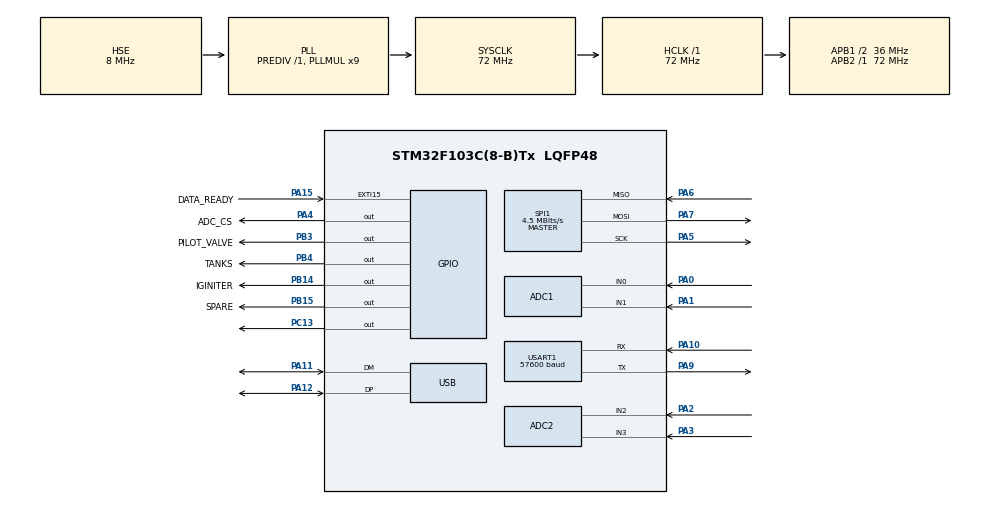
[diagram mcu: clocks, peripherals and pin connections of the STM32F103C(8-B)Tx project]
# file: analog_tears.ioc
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ADC1.Channel-0\#ChannelRegularConversion=ADC_CHANNEL_0
ADC1.ContinuousConvMode=ENABLE
ADC1.NbrOfConversionFlag=1
ADC1.Rank-0\#ChannelRegularConversion=1
ADC1.SamplingTime-0\#ChannelRegularConversion=ADC_SAMPLETIME_55CYCLES_5
ADC1.master=1
ADC2.Channel-0\#ChannelRegularConversion=ADC_CHANNEL_3
ADC2.NbrOfConversionFlag=1
ADC2.Rank-0\#ChannelRegularConversion=1
ADC2.SamplingTime-0\#ChannelRegularConversion=ADC_SAMPLETIME_1CYCLE_5
Dma.ADC1.0.Direction=DMA_PERIPH_TO_MEMORY
Dma.ADC1.0.Instance=DMA1_Channel1
Dma.ADC1.0.MemDataAlignment=DMA_MDATAALIGN_HALFWORD
Dma.ADC1.0.MemInc=DMA_MINC_ENABLE
Dma.ADC1.0.Mode=DMA_CIRCULAR
Dma.ADC1.0.PeriphDataAlignment=DMA_PDATAALIGN_HALFWORD
Dma.ADC1.0.PeriphInc=DMA_PINC_DISABLE
Dma.ADC1.0.Priority=DMA_PRIORITY_LOW
Dma.Request0=ADC1
Mcu.Family=STM32F1
Mcu.Name=STM32F103C(8-B)Tx
Mcu.Package=LQFP48
NVIC.DMA1_Channel1_IRQn=true\:0\:0\:false\:false\:true\:false\:true\:true
NVIC.EXTI15_10_IRQn=true\:1\:0\:true\:false\:true\:true\:true\:true
NVIC.PriorityGroup=NVIC_PRIORITYGROUP_4
NVIC.SPI1_IRQn=true\:0\:0\:false\:false\:true\:true\:true\:true
NVIC.TIM4_IRQn=true\:15\:0\:false\:false\:true\:false\:true\:true
NVIC.TimeBase=TIM4_IRQn
NVIC.TimeBaseIP=TIM4
NVIC.USART1_IRQn=true\:0\:0\:false\:false\:true\:true\:true\:true
NVIC.USB_LP_CAN1_RX0_IRQn=true\:0\:0\:false\:false\:true\:false\:true\:true
PA0-WKUP.Signal=ADCx_IN0
PA1.Signal=ADCx_IN1
PA10.Mode=Asynchronous
PA10.Signal=USART1_RX
PA11.Mode=Device
PA11.Signal=USB_DM
PA12.Mode=Device
PA12.Signal=USB_DP
PA13.Mode=Serial_Wire
PA13.Signal=SYS_JTMS-SWDIO
PA14.Mode=Serial_Wire
PA14.Signal=SYS_JTCK-SWCLK
PA15.GPIO_Label=DATA_READY
PA15.GPIO_ModeDefaultEXTI=GPIO_MODE_IT_FALLING
PA15.GPIO_PuPd=GPIO_PULLUP
PA15.Signal=GPXTI15
PA2.Signal=ADCx_IN2
PA3.Signal=ADCx_IN3
PA4.GPIO_Label=ADC_CS
PA4.GPIO_PuPd=GPIO_PULLUP
PA4.GPIO_Speed=GPIO_SPEED_FREQ_HIGH
PA4.Signal=GPIO_Output
PA5.Mode=Full_Duplex_Master
PA5.Signal=SPI1_SCK
PA6.Mode=Full_Duplex_Master
PA6.Signal=SPI1_MISO
PA7.Mode=Full_Duplex_Master
PA7.Signal=SPI1_MOSI
PA9.Mode=Asynchronous
PA9.Signal=USART1_TX
PB14.GPIO_Label=IGINITER
PB14.GPIO_PuPd=GPIO_PULLDOWN
PB14.Signal=GPIO_Output
PB15.GPIO_Label=SPARE
PB15.GPIO_PuPd=GPIO_PULLDOWN
PB15.Signal=GPIO_Output
PB3.GPIO_Label=PILOT_VALVE
PB3.Signal=GPIO_Output
PB4.GPIO_Label=TANKS
PB4.Signal=GPIO_Output
PC13-TAMPER-RTC.Signal=GPIO_Output
PD0-OSC_IN.Mode=HSE-External-Oscillator
PD0-OSC_IN.Signal=RCC_OSC_IN
PD1-OSC_OUT.Mode=HSE-External-Oscillator
PD1-OSC_OUT.Signal=RCC_OSC_OUT
ProjectManager.HeapSize=0x200
ProjectManager.StackSize=0x400
ProjectManager.TargetToolchain=CMake
RCC.ADCPresc=RCC_ADCPCLK2_DIV6
RCC.AHBFreq_Value=72000000
RCC.APB1CLKDivider=RCC_HCLK_DIV2
RCC.APB1Freq_Value=36000000
RCC.APB1TimFreq_Value=72000000
RCC.APB2Freq_Value=72000000
RCC.APB2TimFreq_Value=72000000
RCC.HCLKFreq_Value=72000000
RCC.PLLMUL=RCC_PLL_MUL9
RCC.PLLSourceVirtual=RCC_PLLSOURCE_HSE
RCC.SYSCLKFreq_VALUE=72000000
RCC.SYSCLKSource=RCC_SYSCLKSOURCE_PLLCLK
RCC.USBFreq_Value=48000000
RCC.USBPrescaler=RCC_USBCLKSOURCE_PLL_DIV1_5
SH.ADCx_IN0.0=ADC1_IN0,IN0
SH.ADCx_IN0.1=ADC2_IN0
SH.ADCx_IN1.0=ADC1_IN1,IN1
SH.ADCx_IN1.1=ADC2_IN1
SH.ADCx_IN2.0=ADC2_IN2,IN2
SH.ADCx_IN3.0=ADC2_IN3,IN3
SPI1.BaudRatePrescaler=SPI_BAUDRATEPRESCALER_16
SPI1.CalculateBaudRate=4.5 MBits/s
SPI1.Direction=SPI_DIRECTION_2LINES
SPI1.Mode=SPI_MODE_MASTER
SPI1.VirtualType=VM_MASTER
USART1.BaudRate=57600
USART1.VirtualMode=VM_ASYNC
USB_DEVICE.CLASS_NAME_FS=CDC
USB_DEVICE.VirtualMode=Cdc
USB_DEVICE.VirtualModeFS=Cdc_FS
VP_SYS_VS_tim4.Mode=TIM4
VP_USB_DEVICE_VS_USB_DEVICE_CDC_FS.Mode=CDC_FS
board=custom

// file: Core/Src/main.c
/* USER CODE BEGIN Header */
/**
 ******************************************************************************
 * @file           : main.c
 * @brief          : Main program body
 ******************************************************************************
 * @attention
 *
 * Copyright (c) 2025 STMicroelectronics.
 * All rights reserved.
 *
 * This software is licensed under terms that can be found in the LICENSE file
 * in the root directory of this software component.
 * If no LICENSE file comes with this software, it is provided AS-IS.
 *
 ******************************************************************************
 */
/* USER CODE END Header */
#include "main.h"
#include "usb_device.h"

/* USER CODE BEGIN Includes */
#include <stdint.h>
#include <string.h>
#include <stdio.h>
#include <unistd.h>
#include <stddef.h>
#include "ad7193.h"
#include "usbd_cdc_if.h"
/* USER CODE END Includes */

/* USER CODE BEGIN PTD */
#define CHANNELS 2
#define VREF 3.3
#define READY_MASK 0x03

typedef struct __attribute__((packed)) {
  uint8_t header;                   // 0xAC
  uint8_t sequence;                 // Rolling counter
  uint32_t timestamp;               // HAL_GetTick()
  float ad7193_data[CHANNELS];      // floating point values for AD7193
  uint16_t stm32_adc;               // 16-bit internal ADC
  float battery_voltage;            // Battery voltage in volts
  uint16_t crc;                     // CRC-16
} DataPacket_t;
_Static_assert(sizeof(DataPacket_t) == 22, "DataPacket_t must be 22 bytes");

typedef enum { IGNITER_IDLE, IGNITER_FIRING, IGNITER_PILOT, IGNITER_PILOT_OFF, IGNITER_COMPLETE } igniterState_t;

/* USER CODE END PTD */

/* USER CODE BEGIN PD */
#define CMD_HEADER 0xAA
#define ACK_HEADER 0xAB

#define CMD_IGNITER 'I'
#define CMD_SPARE 'S'
#define CMD_TANKS 'T'
#define CMD_PILOT 'P'
#define PILOT_ON_DURATION_MS 1500

#define CMD_ON 0x01
#define CMD_OFF 0x02

#define UART_BUFFER_LEN 4

#define UART_TIMEOUT 10

#define DATA_HEADER 0xAC

#define PILOT_VALVE_DELAY 5000
#define IGNITER_TURN_OFF 10000
#define UART_ACK_TIMEOUT 2000

#define BATTERY_ADC_AVG_SAMPLES 32u
// Battery calibration points:
// ADC 1577 -> 14V, ADC 1464 -> 13V
#define BATTERY_CAL_SLOPE_V_PER_COUNT ((14.0f - 13.0f) / (1577.0f - 1464.0f))
#define BATTERY_CAL_OFFSET_V          (14.0f - (BATTERY_CAL_SLOPE_V_PER_COUNT * 1577.0f))
// Empirical gain trim: measured 13.2 V while true battery was 14.0 V.
#define BATTERY_CAL_GAIN_TRIM         (14.0f / 13.2f)
// Empirical offset trim after gain correction.
#define BATTERY_CAL_OFFSET_TRIM_V     (-0.1f)
/* USER CODE END PD */

ADC_HandleTypeDef hadc1;
ADC_HandleTypeDef hadc2;
DMA_HandleTypeDef hdma_adc1;

SPI_HandleTypeDef hspi1;

UART_HandleTypeDef huart1;

/* USER CODE BEGIN PV */
AD7193_HandleTypeDef hadc7193;

uint8_t ack_buffer[4];
static uint8_t pending_ack_buffer[4];
static volatile uint8_t pending_ack_ready = 0;

volatile uint8_t cmd_rdy = 0;
uint8_t cmd_buf[UART_BUFFER_LEN];

volatile uint8_t ad7193_ready = 0;
volatile uint16_t internal_adc_buffer[1];
uint8_t ad7193_valid_mask = 0;
uint8_t sequence = 0;
float ad7193_latest_volts[CHANNELS] = {0.0f};
static uint32_t battery_adc_accum = 0;
static uint8_t battery_adc_count = 0;
static float latest_battery_voltage = 0.0f;
DataPacket_t pkt_buf[2];
static volatile uint8_t pkt_idx = 0;       // which buffer to build next
static volatile uint32_t dropped_pkts = 0; // optional debug
static volatile uint8_t uart_tx_busy = 0;
volatile uint32_t pilot_start = 0;

/* USER CODE END PV */

void SystemClock_Config(void);
static void MX_GPIO_Init(void);
static void MX_DMA_Init(void);
static void MX_SPI1_Init(void);
static void MX_USART1_UART_Init(void);
static void MX_ADC1_Init(void);
static void MX_ADC2_Init(void);

/* USER CODE BEGIN 0 */
uint8_t uart_rx_buf[UART_BUFFER_LEN];

uint8_t computeCRC(uint8_t *data, uint8_t len) {
  uint8_t crc = 0;
  for (int i = 0; i < len; i++) {
    crc ^= data[i];
  }
  return crc;
}

uint16_t computeCRC_16(const uint8_t *data, uint16_t len) {
  uint16_t crc = 0xFFFF;

  for (uint16_t i = 0; i < len; i++) {
    // XOR byte into the top of the CRC
    crc ^= (uint16_t)data[i] << 8;

    // Process 8 bits
    for (uint8_t j = 0; j < 8; j++) {
      if (crc & 0x8000) // If MSB is 1
      {
        crc = (crc << 1) ^ 0x1021;
      } else {
        crc = crc << 1;
      }
    }
  }
  return crc;
}

void sendAck(uint8_t cmd, GPIO_PinState state) {
  uint8_t frame[4];
  frame[0] = ACK_HEADER;
  frame[1] = cmd;
  frame[2] = (state == GPIO_PIN_SET) ? 1 : 0;
  frame[3] = computeCRC(frame, 3);

  __disable_irq();
  if (uart_tx_busy) {
    memcpy(pending_ack_buffer, frame, sizeof(pending_ack_buffer));
    pending_ack_ready = 1;
    __enable_irq();
    return;
  }
  memcpy(ack_buffer, frame, sizeof(ack_buffer));
  uart_tx_busy = 1;
  __enable_irq();

  if (HAL_UART_Transmit_IT(&huart1, ack_buffer, 4) != HAL_OK) {
    __disable_irq();
    uart_tx_busy = 0;
    __enable_irq();
  }
}

static inline float BatteryAdcToVolts(uint16_t adc_sample) {
  float volts = ((BATTERY_CAL_SLOPE_V_PER_COUNT * (float)adc_sample) + BATTERY_CAL_OFFSET_V) *
                BATTERY_CAL_GAIN_TRIM;
  volts += BATTERY_CAL_OFFSET_TRIM_V;
  if (volts < 0.0f) {
    volts = 0.0f;
  }
  return volts;
}

static inline void BatteryAdc_UpdateNonBlocking(void) {
  // Take one ADC2 sample per call; publish a new averaged battery voltage every
  // BATTERY_ADC_AVG_SAMPLES samples.
  if (HAL_ADC_Start(&hadc2) == HAL_OK) {
    // Timeout must be >0 or conversions are frequently missed.
    if (HAL_ADC_PollForConversion(&hadc2, 2) == HAL_OK) {
      battery_adc_accum += HAL_ADC_GetValue(&hadc2);
      battery_adc_count++;

      if (battery_adc_count >= BATTERY_ADC_AVG_SAMPLES) {
        uint16_t averaged_sample = (uint16_t)(battery_adc_accum / BATTERY_ADC_AVG_SAMPLES);
        latest_battery_voltage = BatteryAdcToVolts(averaged_sample);
        battery_adc_accum = 0;
        battery_adc_count = 0;
      }
    }
    (void)HAL_ADC_Stop(&hadc2);
  }
}

static inline void TrySendDataPacket_IT(const float ad_volts[CHANNELS],
                                       uint16_t stm32_adc_sample,
                                       float battery_adc_raw) {
  if (uart_tx_busy) {
    dropped_pkts++;
    return; // simplest policy: drop if UART is busy
  }

  uart_tx_busy = 1;

  // Pick buffer and flip for next time
  DataPacket_t *p = &pkt_buf[pkt_idx];
  pkt_idx ^= 1;

  // Fill packet
  p->header    = DATA_HEADER;      // 0xAC
  p->sequence  = sequence++;
  p->timestamp = HAL_GetTick();
  for (int i = 0; i < CHANNELS; i++) {
    p->ad7193_data[i] = -ad_volts[i];
  }
  p->stm32_adc = stm32_adc_sample;
  p->battery_voltage = battery_adc_raw;

  p->crc = computeCRC_16((const uint8_t*)p, (uint16_t)offsetof(DataPacket_t, crc));

  // Start non-blocking TX
  if (HAL_UART_Transmit_IT(&huart1, (uint8_t*)p, (uint16_t)sizeof(DataPacket_t)) != HAL_OK) {
    uart_tx_busy = 0; // give up
  }
}

volatile igniterState_t state = IGNITER_IDLE;
volatile uint32_t igniter_start = 0;

void handleCommand(uint8_t cmd, uint8_t val) {
  GPIO_TypeDef *port = NULL;
  uint16_t pin;

  switch (cmd) {
  case CMD_IGNITER:
    port = IGINITER_GPIO_Port;
    pin = IGINITER_Pin;

    if (val == CMD_ON) {
      HAL_GPIO_WritePin(IGINITER_GPIO_Port, IGINITER_Pin, GPIO_PIN_SET);
      state = IGNITER_FIRING;
      igniter_start = HAL_GetTick();

      GPIO_PinState curr = HAL_GPIO_ReadPin(port, pin);
      sendAck(cmd, curr);
      return;
    } else if (val == CMD_OFF) {
      // abort!!!!
      HAL_GPIO_WritePin(IGINITER_GPIO_Port, IGINITER_Pin, GPIO_PIN_RESET);
      HAL_GPIO_WritePin(PILOT_VALVE_GPIO_Port, PILOT_VALVE_Pin, GPIO_PIN_RESET);
      state = IGNITER_IDLE;

      GPIO_PinState curr = HAL_GPIO_ReadPin(port, pin);
      sendAck(cmd, curr);
      return;
    }

  case CMD_PILOT:
    port = PILOT_VALVE_GPIO_Port;
    pin = PILOT_VALVE_Pin;
    break;

  case CMD_TANKS:
    port = TANKS_GPIO_Port;
    pin = TANKS_Pin;
    break;

  case CMD_SPARE:
    port = SPARE_GPIO_Port;
    pin = SPARE_Pin;
    break;

  default:
    return;
  }
  switch (val) {
  case CMD_ON:
    HAL_GPIO_WritePin(port, pin, GPIO_PIN_SET);
    break;

  case CMD_OFF:
    HAL_GPIO_WritePin(port, pin, GPIO_PIN_RESET);
    break;

  default:
    return;
  }

  GPIO_PinState curr = HAL_GPIO_ReadPin(port, pin);
  sendAck(cmd, curr);
}

void handleIgniterSequence(void) {
  uint32_t now = HAL_GetTick();

  switch (state) {
  case IGNITER_IDLE:
    break;

  case IGNITER_FIRING:
    if ((now - igniter_start) >= PILOT_VALVE_DELAY) {
      HAL_GPIO_WritePin(PILOT_VALVE_GPIO_Port, PILOT_VALVE_Pin, GPIO_PIN_SET);
      sendAck(CMD_PILOT, GPIO_PIN_SET);

      pilot_start = now;          // start pilot-on timer
      state = IGNITER_PILOT;
    }
    break;

  case IGNITER_PILOT:
    // turn pilot off after 1.5 seconds
    if ((now - pilot_start) >= PILOT_ON_DURATION_MS) {
      HAL_GPIO_WritePin(PILOT_VALVE_GPIO_Port, PILOT_VALVE_Pin, GPIO_PIN_RESET);
      sendAck(CMD_PILOT, GPIO_PIN_RESET);
      state = IGNITER_PILOT_OFF;
    }
    break;

  case IGNITER_PILOT_OFF:
    // keep existing igniter turn-off timing (based on igniter_start)
    if ((now - igniter_start) > IGNITER_TURN_OFF) {
      HAL_GPIO_WritePin(IGINITER_GPIO_Port, IGINITER_Pin, GPIO_PIN_RESET);
      sendAck(CMD_IGNITER, GPIO_PIN_RESET);
      state = IGNITER_COMPLETE;
    }
    break;

  case IGNITER_COMPLETE:
    state = IGNITER_IDLE;
    break;
  }
}

void ad7193_init() {

  // Configure AD7193 registers
  uint32_t config =
      AD7193_CONFIG_CHOP(0) |   // CHOP = 0 (chop disabled for faster conversion)
      AD7193_CONFIG_REFSEL(0) | // REFSEL = 0 (use REFIN1)
      AD7193_CONFIG_PSEUDO(0) | // Pseudo
      AD7193_CONFIG_SHORT(0) |  // Short
      AD7193_CONFIG_TEMP(0) |   // TEMP
      AD7193_CONFIG_CH7(0) |    // CH7
      AD7193_CONFIG_CH6(0) |    // CH6
      AD7193_CONFIG_CH5(0) |    // CH5
      AD7193_CONFIG_CH4(0) |    // CH4
      AD7193_CONFIG_CH3(0) |    // CH3
      AD7193_CONFIG_CH2(0) |    // CH2
      AD7193_CONFIG_CH1(1) |    // CH1
      AD7193_CONFIG_CH0(1) |    // CH0 (AIN1-AIN2 pair enabled)
      AD7193_CONFIG_BURN(0) |   // BURN = 0
      AD7193_CONFIG_REFDET(0) | // REFDET = 0
      AD7193_CONFIG_BUF(1) |    // BUF (buffer enabled) // HAS TO BE ENABLED FOR ADC TO WORK
      AD7193_CONFIG_UB(0) | // U/B  (When this bit is set, unipolar operation is selected.) // HAS
                            // TO BE bipolar FOR ADC TO WORK
      AD7193_CONFIG_G2(1) | // G2
      AD7193_CONFIG_G1(1) | // G1
      AD7193_CONFIG_G0(1);  // G0
#define AD7193_GAIN 128

  // Configure mode register for continuous conversion
  uint32_t mode =
      AD7193_MODE_MD2(0) |     // MD2 = 0
      AD7193_MODE_MD1(0) |     // MD1 = 0
      AD7193_MODE_MD0(0) |     // MD0 = 0 (Continuous conversion mode)
      AD7193_MODE_DAT_STA(1) | // DAT_STA = 1 This bit enables the transmission of status register
                               // contents after each data register read.
      AD7193_MODE_CLK1(0) |    // CLK1
      AD7193_MODE_CLK0(0) |    // CLK0
      AD7193_MODE_AVG1(0) |    // AVG1 = 0
      AD7193_MODE_AVG0(0) |    // AVG0 = 0 (no averaging)
      AD7193_MODE_SINC3(0) |   // SINC3 = 0 (use SINC4 filter)
      AD7193_MODE_ENPAR(0) |   // ENPAR = 0
      AD7193_MODE_CLK_DIV(0) | // CLK_DIV = 0
      AD7193_MODE_SINGLE(1) |  // Single = 0
      AD7193_MODE_REJ60(0) |   // REJ60 = 0
      AD7193_MODE_FS(2);      // FS[9:0]

  // Initialize AD7193 driver with configurable pins
  if (AD7193_Init(&hadc7193, &hspi1, ADC_CS_GPIO_Port, ADC_CS_Pin, DATA_READY_GPIO_Port,
                  DATA_READY_Pin, VREF, AD7193_GAIN) != HAL_OK) {
    Error_Handler();
  }

  // Reset AD7193
  if (AD7193_Reset(&hadc7193) != HAL_OK) {
    Error_Handler();
  }

  AD7193_Configure(&hadc7193, config, mode);
  AD7193_EnableContinuousRead(&hadc7193);
  AD7193_SetCSlowForTheInterruptToWork(&hadc7193);
}

// Redirect printf to USB CDC
int _write(int file, char *ptr, int len) {
  // This is the function that printf calls internally
  // Send data through USB CDC
  CDC_Transmit_FS((uint8_t *)ptr, len);
  return len;
}

/* USER CODE END 0 */

int main(void)
{

  /* MCU Configuration--------------------------------------------------------*/

  /* Reset of all peripherals, Initializes the Flash interface and the Systick. */
  HAL_Init();

  /* Configure the system clock */
  SystemClock_Config();

  /* Initialize all configured peripherals */
  MX_GPIO_Init();
  MX_DMA_Init();
  MX_SPI1_Init();
  MX_USART1_UART_Init();
  MX_ADC1_Init();
  MX_USB_DEVICE_Init();
  MX_ADC2_Init();
  /* USER CODE BEGIN 2 */
  ad7193_init();
  HAL_UART_Receive_IT(&huart1, uart_rx_buf, UART_BUFFER_LEN);
  HAL_ADC_Start_DMA(&hadc1, (uint32_t *)internal_adc_buffer, 1);
  /* USER CODE END 2 */

  /* Infinite loop */
  while (1)
  {

    /* USER CODE BEGIN 3 */

    // HAL_GPIO_WritePin(GPIOC, GPIO_PIN_13, 1);
    // HAL_Delay(100);
    // HAL_GPIO_WritePin(GPIOC, GPIO_PIN_13, 0);
    // HAL_Delay(100);

    handleIgniterSequence();
    BatteryAdc_UpdateNonBlocking();

    if (cmd_rdy) {
      // atomic clear
      __disable_irq();
      cmd_rdy = 0;
      uint8_t cmd = cmd_buf[1];
      uint8_t val = cmd_buf[2];
      __enable_irq();
      handleCommand(cmd, val);
    }

    if (ad7193_ready)
    {
      ad7193_ready = 0;
      uint32_t dataReg = 0;
      uint8_t statusReg = 0;

      // HAL_NVIC_DisableIRQ(EXTI15_10_IRQn);
      // if (AD7193_ReadData_WithContinuousReadMode_WithCSPinALwaysLowToMakeTheInterruptWork_WithDAT_STAModeSet(
      //         &hadc7193, &dataReg, &statusReg) != HAL_OK) {
      //   // TODO: HANDLE ERROR
      // }
      // HAL_NVIC_EnableIRQ(EXTI15_10_IRQn);

      // // I guess that ad7193_buffer stores the raw bytes and then we want to do the conversion on
      // // the receiving end? We send raw data. float voltage = 0; if
      // float voltage = 0;
      // if (AD7193_BipolarModeConvertToVoltage(&hadc7193, dataReg, &voltage) != HAL_OK) {
      //   // TODO: HANDLE ERROR
      // }

      // AD7193_StatusRegisterTypeDef statusRegStruct;
      // if (AD7193_RawStatusRegisterToStruct(&statusReg, &statusRegStruct) != HAL_OK) {
      //   // TODO: HANDLE ERROR
      // }

      // // printf("AD7193 Data Register: 0x%06lX (%lu)\r\n", dataReg, dataReg);
      // // printf("AD7193 Status Register: 0x%02X (%u)\r\n", statusReg, statusReg);

      // int voltage_mV = (int)(voltage * 1000000000000);
      // // printf("%d\n", statusRegStruct.channelNum);
      // if (statusRegStruct.channelNum == 0) {
      //   printf("A:%d\n", -voltage_mV);
      // }

      // if (statusRegStruct.channelNum == 1) {
      //   printf("B:%d\n", -voltage_mV);
      // }

      HAL_NVIC_DisableIRQ(EXTI15_10_IRQn);
      (void)AD7193_ReadData_WithContinuousReadMode_WithCSPinALwaysLowToMakeTheInterruptWork_WithDAT_STAModeSet
      (
        &hadc7193, &dataReg, &statusReg
      );
      HAL_NVIC_EnableIRQ(EXTI15_10_IRQn);

      AD7193_StatusRegisterTypeDef statusRegStruct;
      (void)AD7193_RawStatusRegisterToStruct
      (
        &statusReg, &statusRegStruct
      );

      uint8_t ch = (uint8_t)statusRegStruct.channelNum;
      if (ch < CHANNELS)
      {
        (void)AD7193_BipolarModeConvertToVoltage(&hadc7193, dataReg, &ad7193_latest_volts[ch]);
        ad7193_valid_mask |= (uint8_t)(1u << ch);
      }

      // Send on each new sample; channels that did not update in this cycle use
      // their last-known values.
      if (ad7193_valid_mask == READY_MASK)
      {
        TrySendDataPacket_IT(ad7193_latest_volts, internal_adc_buffer[0], latest_battery_voltage);
      }
    }
  }
  /* USER CODE END 3 */
}

void SystemClock_Config(void)
{
  RCC_OscInitTypeDef RCC_OscInitStruct = {0};
  RCC_ClkInitTypeDef RCC_ClkInitStruct = {0};
  RCC_PeriphCLKInitTypeDef PeriphClkInit = {0};

  /** Initializes the RCC Oscillators according to the specified parameters
  * in the RCC_OscInitTypeDef structure.
  */
  RCC_OscInitStruct.OscillatorType = RCC_OSCILLATORTYPE_HSE;
  RCC_OscInitStruct.HSEState = RCC_HSE_ON;
  RCC_OscInitStruct.HSEPredivValue = RCC_HSE_PREDIV_DIV1;
  RCC_OscInitStruct.HSIState = RCC_HSI_ON;
  RCC_OscInitStruct.PLL.PLLState = RCC_PLL_ON;
  RCC_OscInitStruct.PLL.PLLSource = RCC_PLLSOURCE_HSE;
  RCC_OscInitStruct.PLL.PLLMUL = RCC_PLL_MUL9;
  if (HAL_RCC_OscConfig(&RCC_OscInitStruct) != HAL_OK)
  {
    Error_Handler();
  }

  /** Initializes the CPU, AHB and APB buses clocks
  */
  RCC_ClkInitStruct.ClockType = RCC_CLOCKTYPE_HCLK|RCC_CLOCKTYPE_SYSCLK
                              |RCC_CLOCKTYPE_PCLK1|RCC_CLOCKTYPE_PCLK2;
  RCC_ClkInitStruct.SYSCLKSource = RCC_SYSCLKSOURCE_PLLCLK;
  RCC_ClkInitStruct.AHBCLKDivider = RCC_SYSCLK_DIV1;
  RCC_ClkInitStruct.APB1CLKDivider = RCC_HCLK_DIV2;
  RCC_ClkInitStruct.APB2CLKDivider = RCC_HCLK_DIV1;

  if (HAL_RCC_ClockConfig(&RCC_ClkInitStruct, FLASH_LATENCY_2) != HAL_OK)
  {
    Error_Handler();
  }
  PeriphClkInit.PeriphClockSelection = RCC_PERIPHCLK_ADC|RCC_PERIPHCLK_USB;
  PeriphClkInit.AdcClockSelection = RCC_ADCPCLK2_DIV6;
  PeriphClkInit.UsbClockSelection = RCC_USBCLKSOURCE_PLL_DIV1_5;
  if (HAL_RCCEx_PeriphCLKConfig(&PeriphClkInit) != HAL_OK)
  {
    Error_Handler();
  }
}

static void MX_ADC1_Init(void)
{

  ADC_ChannelConfTypeDef sConfig = {0};

  /** Common config
  */
  hadc1.Instance = ADC1;
  hadc1.Init.ScanConvMode = ADC_SCAN_DISABLE;
  hadc1.Init.ContinuousConvMode = ENABLE;
  hadc1.Init.DiscontinuousConvMode = DISABLE;
  hadc1.Init.ExternalTrigConv = ADC_SOFTWARE_START;
  hadc1.Init.DataAlign = ADC_DATAALIGN_RIGHT;
  hadc1.Init.NbrOfConversion = 1;
  if (HAL_ADC_Init(&hadc1) != HAL_OK)
  {
    Error_Handler();
  }

  /** Configure Regular Channel
  */
  sConfig.Channel = ADC_CHANNEL_0;
  sConfig.Rank = ADC_REGULAR_RANK_1;
  sConfig.SamplingTime = ADC_SAMPLETIME_55CYCLES_5;
  if (HAL_ADC_ConfigChannel(&hadc1, &sConfig) != HAL_OK)
  {
    Error_Handler();
  }

}

static void MX_ADC2_Init(void)
{

  ADC_ChannelConfTypeDef sConfig = {0};

  /** Common config
  */
  hadc2.Instance = ADC2;
  hadc2.Init.ScanConvMode = ADC_SCAN_DISABLE;
  hadc2.Init.ContinuousConvMode = DISABLE;
  hadc2.Init.DiscontinuousConvMode = DISABLE;
  hadc2.Init.ExternalTrigConv = ADC_SOFTWARE_START;
  hadc2.Init.DataAlign = ADC_DATAALIGN_RIGHT;
  hadc2.Init.NbrOfConversion = 1;
  if (HAL_ADC_Init(&hadc2) != HAL_OK)
  {
    Error_Handler();
  }

  /** Configure Regular Channel
  */
  sConfig.Channel = ADC_CHANNEL_3;
  sConfig.Rank = ADC_REGULAR_RANK_1;
  sConfig.SamplingTime = ADC_SAMPLETIME_1CYCLE_5;
  if (HAL_ADC_ConfigChannel(&hadc2, &sConfig) != HAL_OK)
  {
    Error_Handler();
  }

}

static void MX_SPI1_Init(void)
{

  /* SPI1 parameter configuration*/
  hspi1.Instance = SPI1;
  hspi1.Init.Mode = SPI_MODE_MASTER;
  hspi1.Init.Direction = SPI_DIRECTION_2LINES;
  hspi1.Init.DataSize = SPI_DATASIZE_8BIT;
  hspi1.Init.CLKPolarity = SPI_POLARITY_LOW;
  hspi1.Init.CLKPhase = SPI_PHASE_1EDGE;
  hspi1.Init.NSS = SPI_NSS_SOFT;
  hspi1.Init.BaudRatePrescaler = SPI_BAUDRATEPRESCALER_16;
  hspi1.Init.FirstBit = SPI_FIRSTBIT_MSB;
  hspi1.Init.TIMode = SPI_TIMODE_DISABLE;
  hspi1.Init.CRCCalculation = SPI_CRCCALCULATION_DISABLE;
  hspi1.Init.CRCPolynomial = 10;
  if (HAL_SPI_Init(&hspi1) != HAL_OK)
  {
    Error_Handler();
  }

}

static void MX_USART1_UART_Init(void)
{

  huart1.Instance = USART1;
  huart1.Init.BaudRate = 57600;
  huart1.Init.WordLength = UART_WORDLENGTH_8B;
  huart1.Init.StopBits = UART_STOPBITS_1;
  huart1.Init.Parity = UART_PARITY_NONE;
  huart1.Init.Mode = UART_MODE_TX_RX;
  huart1.Init.HwFlowCtl = UART_HWCONTROL_NONE;
  huart1.Init.OverSampling = UART_OVERSAMPLING_16;
  if (HAL_UART_Init(&huart1) != HAL_OK)
  {
    Error_Handler();
  }

}

static void MX_DMA_Init(void)
{

  /* DMA controller clock enable */
  __HAL_RCC_DMA1_CLK_ENABLE();

  /* DMA interrupt init */
  /* DMA1_Channel1_IRQn interrupt configuration */
  HAL_NVIC_SetPriority(DMA1_Channel1_IRQn, 0, 0);
  HAL_NVIC_EnableIRQ(DMA1_Channel1_IRQn);

}

static void MX_GPIO_Init(void)
{
  GPIO_InitTypeDef GPIO_InitStruct = {0};

  /* GPIO Ports Clock Enable */
  __HAL_RCC_GPIOC_CLK_ENABLE();
  __HAL_RCC_GPIOD_CLK_ENABLE();
  __HAL_RCC_GPIOA_CLK_ENABLE();
  __HAL_RCC_GPIOB_CLK_ENABLE();

  /*Configure GPIO pin Output Level */
  HAL_GPIO_WritePin(GPIOC, GPIO_PIN_13, GPIO_PIN_RESET);

  /*Configure GPIO pin Output Level */
  HAL_GPIO_WritePin(ADC_CS_GPIO_Port, ADC_CS_Pin, GPIO_PIN_RESET);

  /*Configure GPIO pin Output Level */
  HAL_GPIO_WritePin(GPIOB, IGINITER_Pin|SPARE_Pin|PILOT_VALVE_Pin|TANKS_Pin, GPIO_PIN_RESET);

  /*Configure GPIO pin : PC13 */
  GPIO_InitStruct.Pin = GPIO_PIN_13;
  GPIO_InitStruct.Mode = GPIO_MODE_OUTPUT_PP;
  GPIO_InitStruct.Pull = GPIO_NOPULL;
  GPIO_InitStruct.Speed = GPIO_SPEED_FREQ_LOW;
  HAL_GPIO_Init(GPIOC, &GPIO_InitStruct);

  /*Configure GPIO pin : ADC_CS_Pin */
  GPIO_InitStruct.Pin = ADC_CS_Pin;
  GPIO_InitStruct.Mode = GPIO_MODE_OUTPUT_PP;
  GPIO_InitStruct.Pull = GPIO_PULLUP;
  GPIO_InitStruct.Speed = GPIO_SPEED_FREQ_HIGH;
  HAL_GPIO_Init(ADC_CS_GPIO_Port, &GPIO_InitStruct);

  /*Configure GPIO pins : IGINITER_Pin SPARE_Pin */
  GPIO_InitStruct.Pin = IGINITER_Pin|SPARE_Pin;
  GPIO_InitStruct.Mode = GPIO_MODE_OUTPUT_PP;
  GPIO_InitStruct.Pull = GPIO_PULLDOWN;
  GPIO_InitStruct.Speed = GPIO_SPEED_FREQ_LOW;
  HAL_GPIO_Init(GPIOB, &GPIO_InitStruct);

  /*Configure GPIO pin : DATA_READY_Pin */
  GPIO_InitStruct.Pin = DATA_READY_Pin;
  GPIO_InitStruct.Mode = GPIO_MODE_IT_FALLING;
  GPIO_InitStruct.Pull = GPIO_PULLUP;
  HAL_GPIO_Init(DATA_READY_GPIO_Port, &GPIO_InitStruct);

  /*Configure GPIO pins : PILOT_VALVE_Pin TANKS_Pin */
  GPIO_InitStruct.Pin = PILOT_VALVE_Pin|TANKS_Pin;
  GPIO_InitStruct.Mode = GPIO_MODE_OUTPUT_PP;
  GPIO_InitStruct.Pull = GPIO_NOPULL;
  GPIO_InitStruct.Speed = GPIO_SPEED_FREQ_LOW;
  HAL_GPIO_Init(GPIOB, &GPIO_InitStruct);

  /* EXTI interrupt init*/
  HAL_NVIC_SetPriority(EXTI15_10_IRQn, 1, 0);
  HAL_NVIC_EnableIRQ(EXTI15_10_IRQn);

}

/* USER CODE BEGIN 4 */
void HAL_UART_RxCpltCallback(UART_HandleTypeDef *huart) {
  if (huart->Instance == USART1) {
    if (cmd_rdy == 0) {
      uint8_t header = uart_rx_buf[0];
      uint8_t crc = uart_rx_buf[3];
      if (header == CMD_HEADER && computeCRC(uart_rx_buf, (UART_BUFFER_LEN - 1)) == crc) {
        memcpy(cmd_buf, uart_rx_buf, UART_BUFFER_LEN);
        cmd_rdy = 1;
      }
    }
    HAL_UART_Receive_IT(&huart1, uart_rx_buf, UART_BUFFER_LEN);
  }
}

void HAL_UART_TxCpltCallback(UART_HandleTypeDef *huart) {
  if (huart->Instance == USART1) {
    if (pending_ack_ready) {
      memcpy(ack_buffer, pending_ack_buffer, sizeof(ack_buffer));
      pending_ack_ready = 0;
      if (HAL_UART_Transmit_IT(&huart1, ack_buffer, 4) != HAL_OK) {
        uart_tx_busy = 0;
      }
      return;
    }
    uart_tx_busy = 0;
  }
}

void HAL_GPIO_EXTI_Callback(uint16_t GPIO_Pin) {
  if (GPIO_Pin == DATA_READY_Pin) {
    ad7193_ready = 1;
  }
}
/* USER CODE END 4 */

void HAL_TIM_PeriodElapsedCallback(TIM_HandleTypeDef *htim)
{
  if (htim->Instance == TIM4)
  {
    HAL_IncTick();
  }
}

void Error_Handler(void)
{
  __disable_irq();
  while (1) {
  }
}
